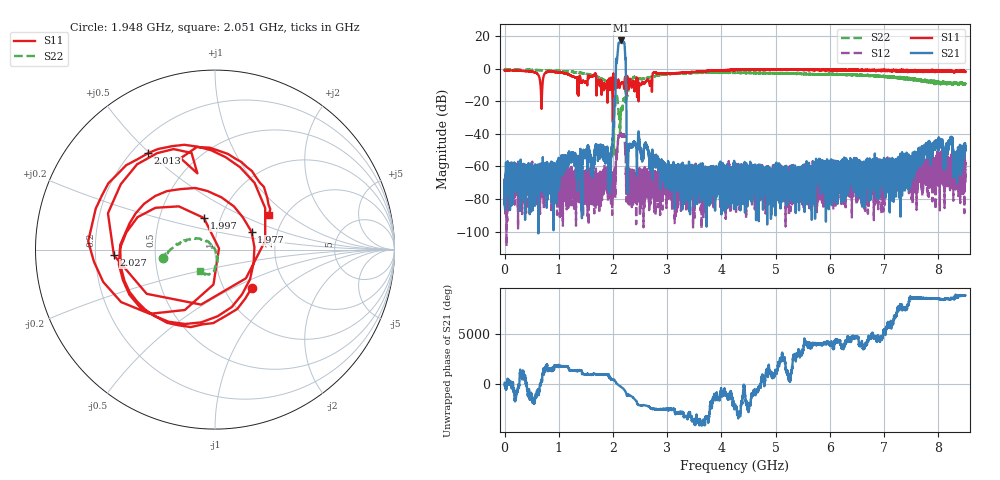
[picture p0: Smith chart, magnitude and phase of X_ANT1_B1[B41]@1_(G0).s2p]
#  HZ  S  RI  R  50.00
! Rohde & Schwarz Vector Network Analyzer
! Rohde-Schwarz,ZNBT8-20Port,1318700624101681,3.50
! Created: UTC 7/15/2025, 2:09:36 PM
! freq[Hz]  re:S1010  im:S1010  re:S0610  im:S0610  re:S1006  im:S1006  re:S66  im:S66
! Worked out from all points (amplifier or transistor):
!   8500 points, 1 MHz to 8.5 GHz, reference 50 ohm
!   highest |S21| = 17.4 dB at 2.144 GHz (marker M1)
!   |S21| within 3 dB of that: 2.095 GHz to 2.215 GHz (119.6 MHz wide, 5.55 % of centre)
!   unconditionally stable (mu >= 1): start of sweep to end of sweep
!   at 1.417 GHz: K = 518288.14, MAG = -52.4 dB, |S12| = -72.1 dB
!   at 4.251 GHz: K = 172410.85, MAG = -62.2 dB, |S12| = -60.7 dB
!   at 8.5 GHz: K = 28922.02, MAG = -43.1 dB, |S12| = -57.2 dB
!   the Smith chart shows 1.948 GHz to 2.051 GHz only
!   S11 on the Smith chart (normalised r, x): 1.948 GHz: 1.35, -0.63; 1.977 GHz: 1.47, +0.31; 1.997 GHz: 0.83, +0.30; 2.013 GHz: 0.26, +0.49; 2.027 GHz: 0.28, -0.03; 2.051 GHz: 1.66, +0.73
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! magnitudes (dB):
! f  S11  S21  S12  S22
! 1 MHz  -0.9  -69.2  -76.0  -0.2
! 1.418 GHz  -8.5  -55.8  -72.6  -2.6
! 1.708 GHz  -6.9  -47.6  -83.5  -4.9
! 1.948 GHz  -10.6  -52.0  -75.8  -10.6
! 1.977 GHz  -12.9  -51.0  -69.3  -13.3
! 1.997 GHz  -14.6  -42.3  -66.7  -18.1
! 2.013 GHz  -3.7  -34.5  -68.8  -33.8
! 2.027 GHz  -5.0  -18.2  -70.5  -23.3
! 2.051 GHz  -9.0  -4.5  -59.8  -16.7
! 2.093 GHz  -7.2  13.5  -43.6  -22.0
! 2.144 GHz  -8.6  17.4  -40.1  -26.6
! 2.205 GHz  -12.0  16.1  -40.7  -18.2
! 2.292 GHz  -11.2  -47.8  -69.9  -12.2
! 2.611 GHz  -7.5  -46.3  -73.2  -5.7
! 2.834 GHz  -2.8  -59.6  -75.6  -4.1
! 4.251 GHz  -0.6  -74.4  -60.7  -2.6
! 5.667 GHz  -0.4  -92.8  -68.2  -3.3
! 7.084 GHz  -1.0  -59.4  -63.5  -5.0
! 7.805 GHz  -1.6  -47.0  -64.2  -7.2
! 8.225 GHz  -1.3  -44.5  -57.5  -8.5
! 8.319 GHz  -1.8  -66.2  -52.8  -9.2
! 8.5 GHz  -1.9  -48.3  -57.2  -9.2
